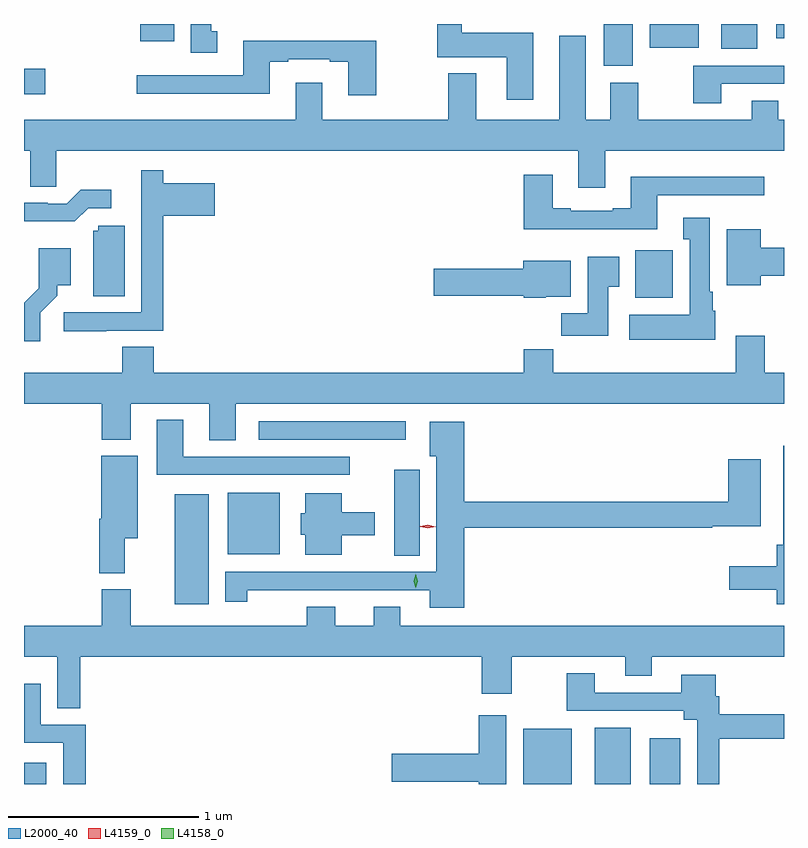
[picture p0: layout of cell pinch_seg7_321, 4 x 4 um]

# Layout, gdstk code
import gdstk
lib = gdstk.Library(unit=1e-6, precision=1e-09)
def R(c, l, rs):  # rectangles x0, y0, x1, y1
    for r in rs: c.add(gdstk.rectangle(r[:2], r[2:], *l))
def P(c, l, *ps):  # polygons
    for p in ps: c.add(gdstk.Polygon(p, *l))
L2000_40 = (2000, 40)
L4158_0 = (4158, 0)
L4159_0 = (4159, 0)

pinch_seg7_321 = lib.new_cell('pinch_seg7_321')
R(pinch_seg7_321, L2000_40, [(394.059,1046.567,394.177,1046.68), (396.686,1046.567,396.943,1046.857), (397.064,1046.567,397.252,1046.863), (397.352,1046.567,397.513,1046.809), (394.853,1047.512,395.032,1048.093), (396.008,1047.769,396.142,1048.222), (395.132,1047.776,395.404,1048.099), (395.295,1048.38,396.067,1048.476), (397.277,1049.126,397.473,1049.377), (394.059,1050.197,394.171,1050.332), (397.109,1050.347,397.264,1050.567), (397.73,1050.437,397.918,1050.567), (397.352,1050.443,397.609,1050.567), (394.67,1050.476,394.849,1050.567), (398.018,1050.492,398.059,1050.567)])
P(pinch_seg7_321, L2000_40, [(396.739,1050.52),(396.364,1050.52),(396.364,1050.567),(396.235,1050.567),(396.235,1050.392),(396.599,1050.392),(396.599,1050.168),(396.739,1050.168)],
  [(395.077,1050.53),(395.044,1050.53),(395.044,1050.567),(394.937,1050.567),(394.937,1050.417),(395.077,1050.417)],
  [(397.117,1049.9),(398.059,1049.9),(398.059,1050.064),(398.029,1050.064),(398.029,1050.163),(397.889,1050.163),(397.889,1050.064),(397.293,1050.064),(397.293,1050.259),(397.145,1050.259),(397.145,1050.064),(397.015,1050.064),(397.015,1050.505),(396.875,1050.505),(396.875,1050.064),(396.439,1050.064),(396.439,1050.307),(396.292,1050.307),(396.292,1050.064),(395.629,1050.064),(395.629,1050.259),(395.489,1050.259),(395.489,1050.064),(394.059,1050.064),(394.059,1049.9),(394.091,1049.9),(394.091,1049.71),(394.23,1049.71),(394.23,1049.9),(396.977,1049.9),(396.977,1049.706),(397.117,1049.706)],
  [(395.913,1050.478),(395.213,1050.478),(395.213,1050.297),(394.653,1050.297),(394.653,1050.2),(395.353,1050.2),(395.353,1050.369),(395.449,1050.369),(395.449,1050.381),(395.669,1050.381),(395.669,1050.369),(395.765,1050.369),(395.765,1050.192),(395.913,1050.192)],
  [(397.729,1050.252),(398.059,1050.252),(398.059,1050.348),(397.582,1050.348),(397.582,1050.15),(397.729,1050.15)],
  [(394.493,1048.953),(394.793,1048.953),(394.793,1049.558),(395.062,1049.558),(395.062,1049.728),(394.793,1049.728),(394.793,1049.797),(394.676,1049.797),(394.676,1049.574),(394.677,1049.574),(394.677,1049.049),(394.269,1049.049),(394.269,1048.951),(394.493,1048.951)],
  [(397.393,1049.667),(397.954,1049.667),(397.954,1049.764),(397.253,1049.764),(397.253,1049.596),(397.157,1049.596),(397.157,1049.583),(396.937,1049.583),(396.937,1049.596),(396.841,1049.596),(396.841,1049.773),(396.689,1049.773),(396.689,1049.486),(397.393,1049.486)],
  [(394.398,1049.598),(394.519,1049.598),(394.519,1049.695),(394.357,1049.695),(394.284,1049.622),(394.184,1049.622),(394.184,1049.625),(394.059,1049.625),(394.059,1049.528),(394.327,1049.528)],
  [(397.696,1049.058),(397.684,1049.058),(397.684,1049.158),(397.669,1049.158),(397.669,1049.548),(397.529,1049.548),(397.529,1049.435),(397.562,1049.435),(397.562,1049.038),(397.245,1049.038),(397.245,1048.904),(397.696,1048.904)],
  [(394.588,1049.505),(394.449,1049.505),(394.449,1049.478),(394.424,1049.478),(394.424,1049.134),(394.588,1049.134)],
  [(397.936,1049.243),(398.059,1049.243),(398.059,1049.39),(397.936,1049.39),(397.936,1049.488),(397.757,1049.488),(397.757,1049.192),(397.936,1049.192)],
  [(394.144,1049.047),(394.234,1049.137),(394.234,1049.192),(394.306,1049.192),(394.306,1049.386),(394.137,1049.386),(394.137,1049.177),(394.059,1049.099),(394.059,1048.896),(394.144,1048.896)],
  [(397.135,1049.185),(397.192,1049.185),(397.192,1049.341),(397.025,1049.341),(397.025,1049.044),(396.886,1049.044),(396.886,1048.926),(397.135,1048.926)],
  [(396.804,1049.132),(396.937,1049.132),(396.937,1049.32),(396.686,1049.32),(396.686,1049.279),(396.216,1049.279),(396.216,1049.137),(396.69,1049.137),(396.69,1049.126),(396.804,1049.126)],
  [(395.173,1048.568),(398.059,1048.568),(398.059,1048.732),(397.958,1048.732),(397.958,1048.927),(397.805,1048.927),(397.805,1048.732),(396.845,1048.732),(396.845,1048.856),(396.689,1048.856),(396.689,1048.732),(394.742,1048.732),(394.742,1048.868),(394.577,1048.868),(394.577,1048.732),(394.059,1048.732),(394.059,1048.568),(394.469,1048.568),(394.469,1048.379),(394.621,1048.379),(394.621,1048.568),(395.033,1048.568),(395.033,1048.375),(395.173,1048.375)],
  [(395.773,1048.29),(394.897,1048.29),(394.897,1048.483),(394.757,1048.483),(394.757,1048.194),(395.773,1048.194)],
  [(396.377,1047.916),(397.682,1047.916),(397.682,1047.923),(397.936,1047.923),(397.936,1048.276),(397.766,1048.276),(397.766,1048.052),(396.377,1048.052),(396.377,1048.474),(396.194,1048.474),(396.194,1048.292),(396.23,1048.292),(396.23,1047.684),(395.117,1047.684),(395.117,1047.525),(395.235,1047.525),(395.235,1047.587),(395.462,1047.587),(395.462,1047.588),(396.194,1047.588),(396.194,1047.494),(396.377,1047.494)],
  [(398.059,1048.347),(398.055,1048.347),(398.055,1047.826),(398.022,1047.826),(398.022,1047.712),(397.77,1047.712),(397.77,1047.59),(398.022,1047.59),(398.022,1047.512),(398.059,1047.512)],
  [(394.588,1047.86),(394.657,1047.86),(394.657,1048.294),(394.466,1048.294),(394.466,1047.964),(394.454,1047.964),(394.454,1047.677),(394.588,1047.677)],
  [(395.731,1047.875),(395.905,1047.875),(395.905,1047.997),(395.731,1047.997),(395.731,1048.096),(395.54,1048.096),(395.54,1047.993),(395.516,1047.993),(395.516,1047.879),(395.54,1047.879),(395.54,1047.773),(395.731,1047.773)],
  [(394.354,1047.236),(396.467,1047.236),(396.467,1047.042),(396.627,1047.042),(396.627,1047.236),(397.223,1047.236),(397.223,1047.137),(397.363,1047.137),(397.363,1047.236),(398.059,1047.236),(398.059,1047.4),(396.04,1047.4),(396.04,1047.499),(395.9,1047.499),(395.9,1047.4),(395.698,1047.4),(395.698,1047.499),(395.546,1047.499),(395.546,1047.4),(394.621,1047.4),(394.621,1047.592),(394.469,1047.592),(394.469,1047.4),(394.059,1047.4),(394.059,1047.236),(394.235,1047.236),(394.235,1046.965),(394.354,1046.965)],
  [(397.718,1046.806),(398.059,1046.806),(398.059,1046.935),(397.718,1046.935),(397.718,1047.029),(397.699,1047.029),(397.699,1047.142),(397.517,1047.142),(397.517,1047.048),(397.063,1047.048),(397.063,1047.151),(396.916,1047.151),(396.916,1046.952),(397.532,1046.952),(397.532,1046.906),(397.602,1046.906),(397.602,1046.567),(397.718,1046.567)],
  [(394.384,1046.88),(394.146,1046.88),(394.146,1047.094),(394.059,1047.094),(394.059,1046.784),(394.265,1046.784),(394.265,1046.567),(394.384,1046.567)],
  [(396.598,1046.929),(396.452,1046.929),(396.452,1046.726),(395.994,1046.726),(395.994,1046.579),(396.452,1046.579),(396.452,1046.567),(396.598,1046.567)])
P(pinch_seg7_321, L4158_0, [(396.12,1047.599),(396.12,1047.599),(396.111,1047.635),(396.121,1047.671),(396.121,1047.671),(396.122,1047.671),(396.131,1047.635),(396.121,1047.599)])
P(pinch_seg7_321, L4159_0, [(396.184,1047.912),(396.144,1047.922),(396.143,1047.923),(396.144,1047.923),(396.185,1047.932),(396.226,1047.922),(396.226,1047.922),(396.226,1047.921)])

lib.write_gds('pinch_seg7_321.gds')
